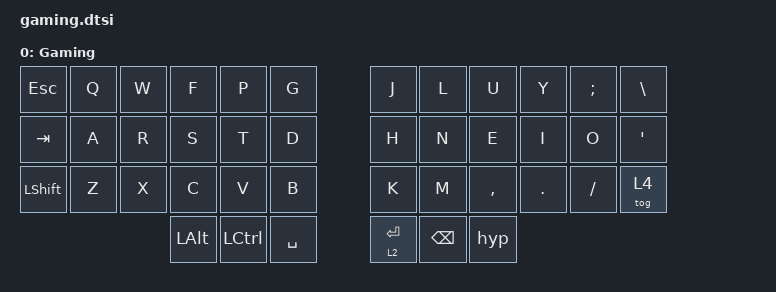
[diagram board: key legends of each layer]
/ {
  keymap {
    compatible = "zmk,keymap";
    Gaming {
      label = "Gaming";
      bindings =
       <&kp ESCAPE      &kp Q  &kp W  &kp F  &kp P  &kp G       &kp J      &kp L        &kp U          &kp Y    &kp SEMICOLON  &kp BACKSLASH
        &kp TAB         &kp A  &kp R  &kp S  &kp T  &kp D       &kp H      &kp N        &kp E          &kp I    &kp O          &kp SQT
        &kp LEFT_SHIFT  &kp Z  &kp X  &kp C  &kp V  &kp B       &kp K      &kp M        &kp COMMA      &kp DOT  &kp FSLH       &tog 4
                                      &kp LEFT_ALT  &kp LCTRL   &kp SPACE  &lt 2 ENTER  &kp BACKSPACE  &hyp>;
    };
  };
};
